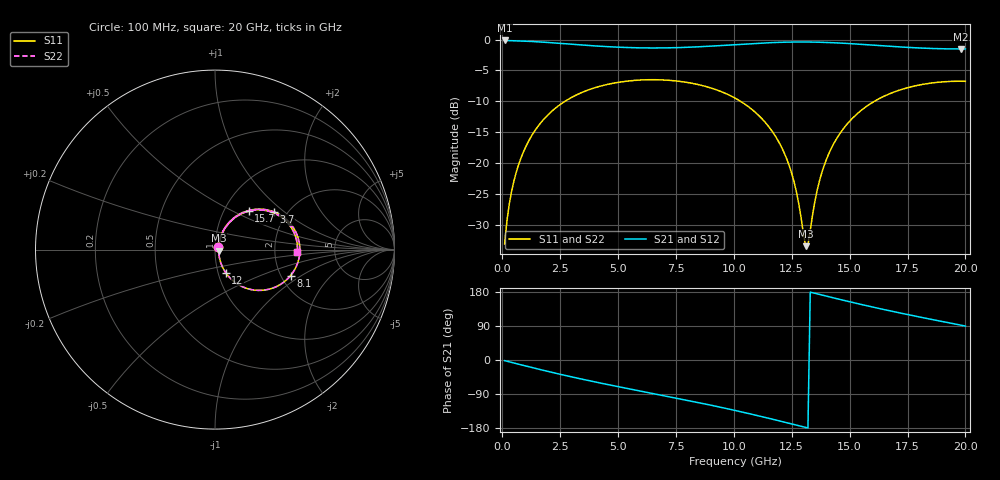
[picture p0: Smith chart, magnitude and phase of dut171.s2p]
! Touchstone file exported from HFSS 2026.1.0
!  File:  C:/ffzhzh/LocalFiles/Ansys_Project_Files/temp_train_TSV_RDL_171_1783055550_18316.aedt
!  Generated:  01:23:08 PM Jul  3, 2026
!  Design:  TSV_RDL
!  Project:  temp_train_TSV_RDL_171_1783055550_18316
! Variables:
!  h_bsmrdl = 2.58um
!  h_ox = 20um
!  h_rdl = 5um
!  h_sub = 63um
!  h_tmrdl = 4.36um
!  h_tsv = 63um
!  h_via = 3um
!  l_bsmrdl = 162.81um
!  l_sub = 4791.66um
!  l_tmrdl = 933.29um
!  m_sub = 200um
!  pitch = 50.99um
!  r_tsv = 5.43um
!  s_tmrdl = 10um
!  w_bsmrdl = 28.71um
!  w_sub = 500um
!  w_tmrdl = 27.98um
!  x_tsv_center1 = 947.28um
!  x_tsv_center2 = 1138.8um
!  x_tsv_center3 = 2100.07um
!  x_tsv_center4 = 2291.59um
!  x_tsv_center5 = 3252.86um
!  x_tsv_center6 = 3444.38um
# GHz S MA R 50.000000
! Terminal data exported
! Port[1] = TM_RDL1_1_T1
! Port[2] = TM_RDL5_1_T1
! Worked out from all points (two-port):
!   200 points, 100 MHz to 20 GHz, reference 50 ohm
!   highest |S21| = -0.14 dB at 100 MHz (marker M1); lowest = -1.5 dB at 19.8 GHz (marker M2)
!   |S21| within 3 dB of the highest: start of sweep to end of sweep
!   lowest |S11| = -33.5 dB at 13.1 GHz (marker M3), VSWR 1.04, Z = 52.1 - j0.541 ohm
!   |S11| at or under -10 dB: start of sweep to 2.711 GHz; 10.28 GHz to 16.07 GHz (5.788 GHz wide, 43.9 % of centre)
!   |S22| runs from -33.5 to -6.5 dB; largest |S21 - S12| = 1.6e-14
!   S11 on the Smith chart (normalised r, x): 100 MHz: 1.03, +0.03; 3.7 GHz: 1.71, +0.85; 8.1 GHz: 2.25, -0.81; 12 GHz: 1.09, -0.28; 15.7 GHz: 1.30, +0.61; 20 GHz: 2.69, -0.08
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0.1  0.02201 41.1  0.9837 -1.7  0.9837 -1.7  0.02201 41.1
! Gamma 0 0 0 0
! Port Impedance 50 0 50 0
0.3  0.04617 61.9  0.9809 -4.8  0.9809 -4.8  0.04617 61.9
0.5  0.07114 66.3  0.9783 -7.9  0.9783 -7.9  0.07114 66.3
1.1  0.1458 64.7  0.9688 -17.1  0.9688 -17.1  0.1458 64.7
2.1  0.2585 53.1  0.9436 -32.0  0.9436 -32.0  0.2585 53.1
3.5  0.3769 35.1  0.9018 -51.3  0.9018 -51.3  0.3769 35.1
3.7  0.3897 32.6  0.8963 -53.9  0.8963 -53.9  0.3897 32.6
6.8  0.4719 -3.9  0.8554 -92.0  0.8554 -92.0  0.4719 -3.9
8.1  0.4455 -19.0  0.8675 -107.7  0.8675 -107.7  0.4456 -18.9
10.1  0.3315 -43.3  0.9108 -133.7  0.9108 -133.7  0.3315 -43.3
11.2  0.2297 -56.9  0.9366 -149.3  0.9366 -149.3  0.2297 -56.8
12  0.1411 -65.2  0.9502 -161.2  0.9502 -161.2  0.1411 -65.2
12.6  0.0703 -65.4  0.9554 -170.3  0.9554 -170.3  0.07034 -65.4
13.1  0.02114 -14.2  0.9559 -177.9  0.9559 -177.9  0.02116 -14.3
13.2  0.02169 18.0  0.9556 -179.4  0.9556 -179.4  0.0217 18.0
13.4  0.03797 53.1  0.9545 177.5  0.9545 177.5  0.03796 53.1
13.7  0.07182 64.8  0.9518 173.0  0.9518 173.0  0.07181 64.7
14.2  0.1302 65.0  0.9446 165.5  0.9446 165.5  0.1302 64.9
15.7  0.2848 48.8  0.9097 143.8  0.9097 143.8  0.2849 48.8
16.7  0.3619 36.6  0.8831 130.3  0.8831 130.3  0.3619 36.6
19.8  0.4596 0.7  0.8395 91.9  0.8395 91.9  0.4597 0.7
20  0.459 -1.5  0.8398 89.6  0.8398 89.6  0.4591 -1.6
